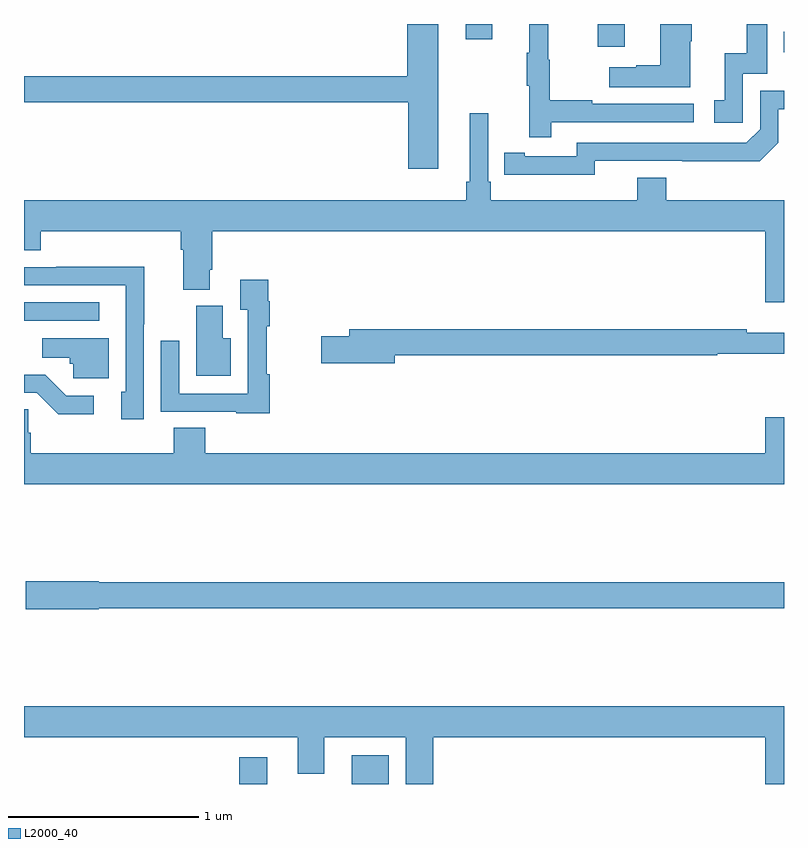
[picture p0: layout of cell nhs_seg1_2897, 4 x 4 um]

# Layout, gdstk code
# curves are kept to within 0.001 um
import gdstk
lib = gdstk.Library(unit=1e-6, precision=1e-09)
def R(c, l, rs):  # rectangles x0, y0, x1, y1
    for r in rs: c.add(gdstk.rectangle(r[:2], r[2:], *l))
def P(c, l, *ps):  # polygons
    for p in ps: c.add(gdstk.Polygon(p, *l))
L2000_40 = (2000, 40)

nhs_seg1_2897 = lib.new_cell('nhs_seg1_2897')
R(nhs_seg1_2897, L2000_40, [(270.134,506.199,270.28,506.341), (270.725,506.199,270.921,506.35), (269,508.638,269.395,508.734), (272.998,510.051,273,510.157), (272.021,510.078,272.161,510.199), (271.325,510.12,271.465,510.199)])
P(nhs_seg1_2897, L2000_40, [(271.775,509.682),(272.524,509.682),(272.524,509.778),(271.991,509.778),(271.991,509.798),(271.768,509.798),(271.768,510.012),(271.76,510.012),(271.76,510.199),(271.658,510.199),(271.658,510.049),(271.647,510.049),(271.647,509.875),(271.658,509.875),(271.658,509.604),(271.775,509.604)],
  [(272.784,509.937),(272.913,509.937),(272.913,510.199),(272.805,510.199),(272.805,510.046),(272.687,510.046),(272.687,509.799),(272.634,509.799),(272.634,509.679),(272.784,509.679)],
  [(272.506,510.107),(272.514,510.107),(272.514,510.199),(272.348,510.199),(272.348,509.981),(272.222,509.981),(272.222,509.971),(272.079,509.971),(272.079,509.867),(272.506,509.867)],
  [(271.18,510.199),(271.016,510.199),(271.016,509.924),(269,509.924),(269,509.788),(271.022,509.788),(271.022,509.436),(271.18,509.436)],
  [(272.004,509.478),(272.872,509.477),(272.97,509.574),(272.97,509.751),(273,509.751),(273,509.847),(272.874,509.847),(272.874,509.646),(272.802,509.574),(271.908,509.574),(271.908,509.502),(271.636,509.502),(271.636,509.522),(271.528,509.522),(271.528,509.406),(272.004,509.405)],
  [(269,509.009),(269.087,509.009),(269.087,509.108),(269.825,509.108),(269.825,509.012),(269.837,509.012),(269.837,508.801),(269.977,508.801),(269.977,508.906),(269.99,508.906),(269.99,509.108),(272.9,509.108),(272.9,508.734),(273,508.734),(273,509.272),(272.381,509.272),(272.381,509.389),(272.228,509.389),(272.228,509.272),(271.457,509.272),(271.457,509.368),(271.443,509.368),(271.443,509.728),(271.346,509.728),(271.346,509.368),(271.327,509.368),(271.327,509.272),(269,509.272)],
  [(269.631,508.618),(269.633,508.618),(269.633,508.922),(269.17,508.922),(269.17,508.92),(269,508.92),(269,508.824),(269.535,508.824),(269.535,508.263),(269.513,508.263),(269.513,508.119),(269.631,508.119)],
  [(270.293,508.355),(270.278,508.355),(270.278,508.607),(270.293,508.607),(270.293,508.739),(270.286,508.739),(270.286,508.852),(270.137,508.852),(270.137,508.696),(270.177,508.696),(270.177,508.254),(269.817,508.254),(269.817,508.531),(269.721,508.531),(269.721,508.158),(270.117,508.158),(270.117,508.151),(270.293,508.151)],
  [(270.088,508.546),(270.046,508.546),(270.046,508.716),(269.906,508.716),(269.906,508.349),(270.088,508.349)],
  [(270.952,508.456),(272.648,508.456),(272.648,508.464),(273,508.464),(273,508.573),(272.804,508.573),(272.804,508.592),(270.713,508.592),(270.713,508.556),(270.564,508.556),(270.564,508.414),(270.952,508.414)],
  [(269.446,508.546),(269.097,508.546),(269.097,508.442),(269.24,508.442),(269.24,508.41),(269.259,508.41),(269.259,508.335),(269.446,508.335)],
  [(269.368,508.242),(269.223,508.242),(269.112,508.353),(269,508.353),(269,508.257),(269.067,508.257),(269.18,508.145),(269.368,508.145)],
  [(273,508.129),(272.9,508.129),(272.9,507.94),(269.954,507.94),(269.954,508.073),(269.789,508.073),(269.789,507.94),(269.036,507.94),(269.036,508.049),(269.022,508.049),(269.022,508.172),(269,508.172),(269,507.776),(273,507.776)],
  [(269.394,507.124),(273,507.124),(273,507.26),(269.394,507.26),(269.394,507.266),(269.01,507.266),(269.01,507.119),(269.394,507.119)],
  [(271.154,506.444),(272.9,506.444),(272.9,506.199),(273,506.199),(273,506.608),(269,506.608),(269,506.444),(270.44,506.444),(270.44,506.254),(270.58,506.254),(270.58,506.444),(271.01,506.444),(271.01,506.199),(271.154,506.199)])

lib.write_gds('nhs_seg1_2897.gds')
